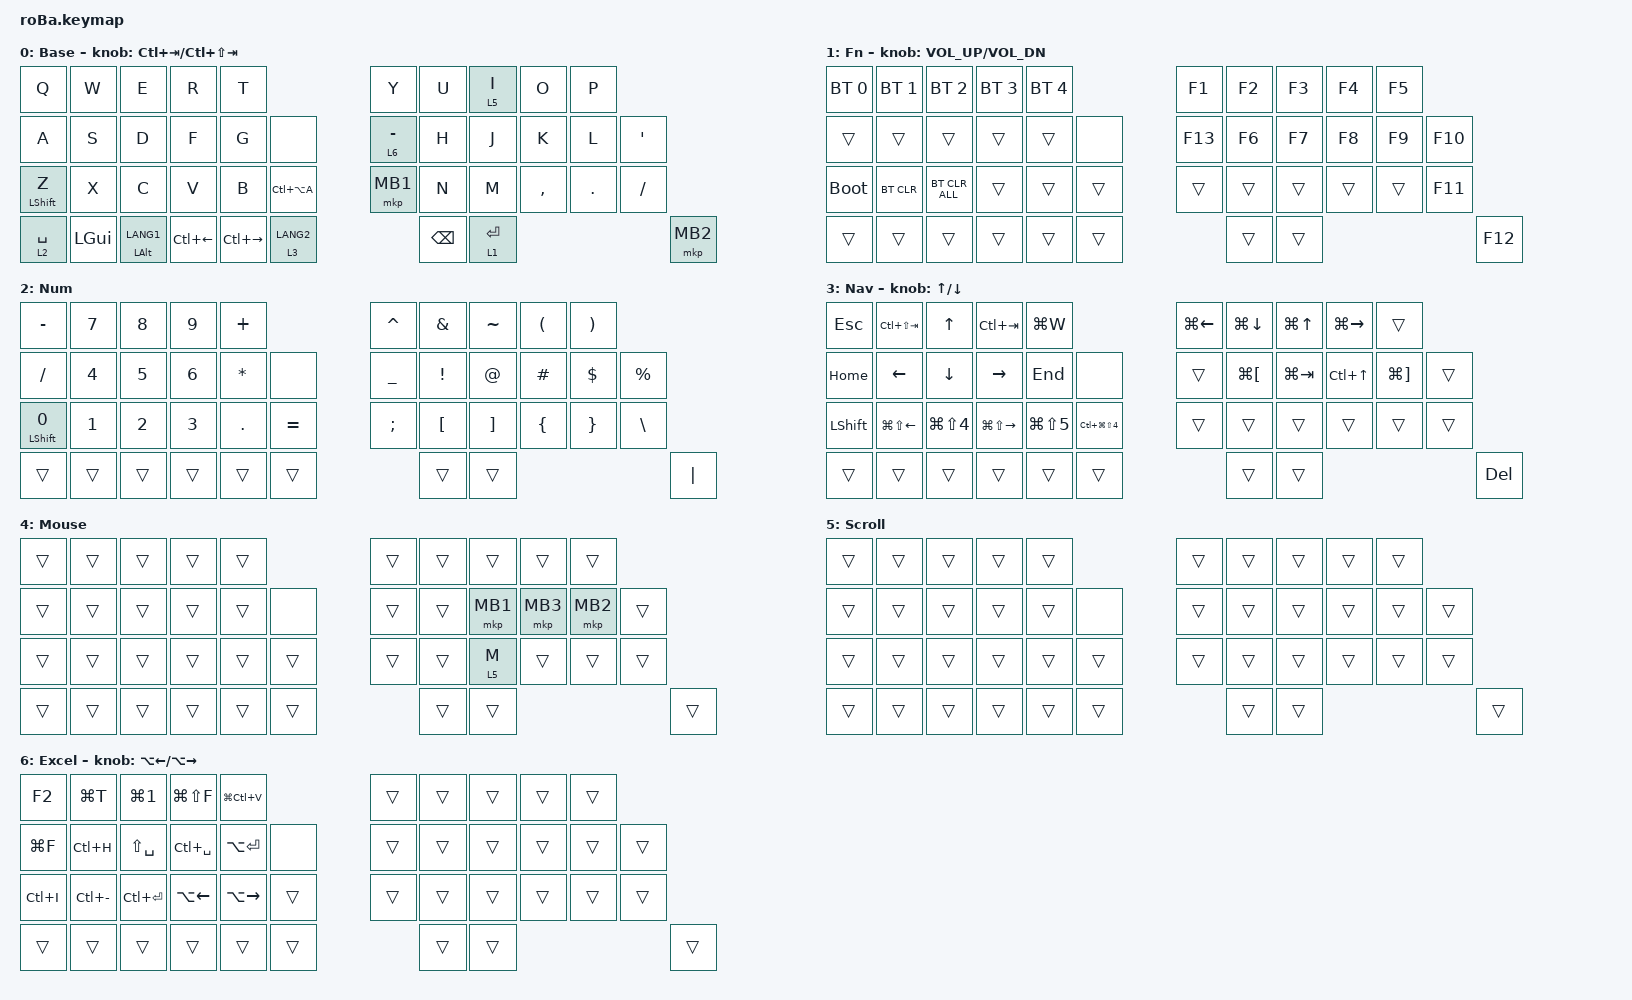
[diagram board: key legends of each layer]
#include <behaviors.dtsi>
#include <dt-bindings/zmk/bt.h>
#include <dt-bindings/zmk/keys.h>
#include <dt-bindings/zmk/pointing.h>

/*
 * roBa キーマップ — Mac 専用版（音声入力＋トラックボール中心）
 *
 * ┌ ワンタップでできること ─────────────────────────────┐
 * │ Aqua Voice     … 左内側の下のキー（⌃⌥A）               │
 * │ タブ切替       … ダイヤルを回す（⌃Tab / ⌃⇧Tab）        │
 * │ 画面(スペース) … 親指 ⌃← / ⌃→                         │
 * │ ウィンドウ一覧 … 親指 ⌃← と ⌃→ を同時押し（⌃↑）        │
 * │ スクショ       … 親指 ⌃→ と 英数 を同時押し              │
 * │                  （範囲を選ぶ→クリップボードへ。⌘Vで貼付）│
 * └──────────────────────────────────────────────┘
 *
 * ┌ レイヤー一覧（すべて「押しっぱなし」の間だけ有効）──────┐
 * │ 0 BASE      … 通常                                      │
 * │ 1 FUNCTION  … F1-F12＋Bluetooth（Enter長押し）          │
 * │ 2 NUM       … 数字・記号（Space長押し）                  │
 * │ 3 ARROW     … 操作：矢印・タブ/アプリ切替・スクショ（英数長押し）│
 * │ 4 MOUSE     … ボール操作で自動                           │
 * │ 5 SCROLL    … スクロール（I または M 長押し＋ボール）      │
 * │ 6 EXCEL     … Excelショートカット（「ー」長押し）          │
 * └──────────────────────────────────────────────┘
 *
 * 親指（左）: [Space] [⌘] [⌥/かな] [⌃←] [⌃→] [英数]
 *   Space長押し=数字 / 英数長押し=操作 / ⌥キーはタップ=かな・長押し=⌥
 * 親指（右）: [⌫] [Enter] [右クリック]   Enter長押し=Fn
 *
 * コピー/ペースト: 親指の ⌘ ＋ C / V
 * クリック: トラックボール脇のキー=左クリック（常時）、最右下=右クリック（常時）
 *           ボール操作中は J/K/L も 左/中/右クリック
 *
 * ※ 位置15（左内側の上）はダイヤルの場所で物理キーが無いため全レイヤーで &none
 */

&mt {
    flavor = "balanced";
    quick-tap-ms = <0>;
};

/* レイヤーキーは押しながら次のキーを押せば即レイヤーに入る */
&lt {
    flavor = "balanced";
    quick-tap-ms = <175>;
};

&trackball {
    automouse-layer = <4>;
    scroll-layers = <5>;
};

/ {
    combos {
        compatible = "zmk,combos";

        tab {
            bindings = <&kp TAB>;
            key-positions = <11 12>;
        };

        shift_tab {
            bindings = <&kp LS(TAB)>;
            key-positions = <12 13>;
        };

        eisu {
            bindings = <&kp LANG2>;
            key-positions = <11 10>;
        };

        kana {
            bindings = <&kp LANG1>;
            key-positions = <0 1>;
        };

        double_quotation {
            bindings = <&kp DOUBLE_QUOTES>;
            key-positions = <20 21>;
        };

        eq {
            bindings = <&kp EQUAL>;
            key-positions = <24 25>;
        };

        /* 親指 ⌃← ＋ ⌃→ 同時押し = Mission Control（全ウィンドウ一覧→ボールで選んでクリック） */
        mission_control {
            bindings = <&kp LC(UP_ARROW)>;
            key-positions = <37 38>;
        };

        /* 親指 ⌃→ ＋ 英数 同時押し = スクショ（範囲選択→クリップボード。⌘Vで貼り付け） */
        screenshot {
            bindings = <&kp LC(LG(LS(NUMBER_4)))>;
            key-positions = <38 39>;
        };
    };

    macros {
        to_layer_0: to_layer_0 {
            compatible = "zmk,behavior-macro-one-param";
            #binding-cells = <1>;
            bindings = <&to 0 &macro_param_1to1 &kp MACRO_PLACEHOLDER>;
            label = "TO_LAYER_0";
        };
    };

    behaviors {
        lt_to_layer_0: lt_to_layer_0 {
            compatible = "zmk,behavior-hold-tap";
            label = "LAYER_TAP_TO_0";
            bindings = <&mo>, <&to_layer_0>;

            #binding-cells = <2>;
            tapping-term-ms = <200>;
            flavor = "balanced";
            quick-tap-ms = <175>;
        };
    };

    keymap {
        compatible = "zmk,keymap";

        BASE {
            display-name = "Base";
            bindings = <
&kp Q             &kp W         &kp E         &kp R                                    &kp T                                            &kp Y          &kp U        &lt 5 I    &kp O    &kp P
&kp A             &kp S         &kp D         &kp F                                    &kp G        &none                               &lt 6 MINUS    &kp H          &kp J        &kp K      &kp L    &kp SQT
&mt LEFT_SHIFT Z  &kp X         &kp C         &kp V                                    &kp B        &kp LC(LA(A))                       &mkp MB1       &kp N          &kp M        &kp COMMA  &kp DOT  &kp SLASH
&lt 2 SPACE       &kp LEFT_GUI  &mt LEFT_ALT LANG1  &kp LC(LEFT_ARROW)                 &kp LC(RIGHT_ARROW)  &lt_to_layer_0 3 LANG2              &kp BACKSPACE  &lt 1 ENTER                                      &mkp MB2
            >;

            /* ダイヤル = タブ切替（次のタブ / 前のタブ）。ボール操作中(MOUSE)も同じ動作 */
            sensor-bindings = <&inc_dec_kp LC(TAB) LC(LS(TAB))>;
        };

        FUNCTION {
            display-name = "Fn";
            bindings = <
&bt BT_SEL 0  &bt BT_SEL 1  &bt BT_SEL 2   &bt BT_SEL 3  &bt BT_SEL 4                        &kp F1   &kp F2  &kp F3  &kp F4  &kp F5
&trans        &trans        &trans         &trans        &trans  &none           &kp F13      &kp F6   &kp F7  &kp F8  &kp F9  &kp F10
&bootloader   &bt BT_CLR    &bt BT_CLR_ALL &trans        &trans  &trans          &trans       &trans   &trans  &trans  &trans  &kp F11
&trans        &trans        &trans         &trans        &trans  &trans          &trans       &trans                           &kp F12
            >;

            sensor-bindings = <&inc_dec_kp C_VOL_UP C_VOL_DN>;
        };

        NUM {
            display-name = "Num";
            bindings = <
&kp MINUS               &kp NUMBER_7  &kp NUMBER_8  &kp NUMBER_9  &kp PLUS                                    &kp CARET         &kp AMPERSAND      &kp TILDE       &kp LEFT_PARENTHESIS  &kp RIGHT_PARENTHESIS
&kp SLASH               &kp NUMBER_4  &kp NUMBER_5  &kp NUMBER_6  &kp ASTERISK  &none           &kp UNDERSCORE  &kp EXCLAMATION   &kp AT_SIGN        &kp HASH        &kp DOLLAR            &kp PERCENT
&mt LEFT_SHIFT NUMBER_0 &kp NUMBER_1  &kp NUMBER_2  &kp NUMBER_3  &kp PERIOD    &kp EQUAL       &kp SEMICOLON   &kp LEFT_BRACKET  &kp RIGHT_BRACKET  &kp LEFT_BRACE  &kp RIGHT_BRACE       &kp BACKSLASH
&trans                  &trans        &trans        &trans        &trans        &trans          &trans          &trans                                                                     &kp PIPE
            >;
        };

        /*
         * ARROW（操作）— 英数を押しっぱなしの間だけ
         *  左手: 矢印・行頭/行末・選択 / W,R=前後のタブ  T=タブを閉じる  Q=Esc
         *        C=スクショ(ファイル保存)  内側=スクショ(クリップボード)  B=スクショ/録画メニュー
         *  右手: YUIO=⌘+矢印（行頭・文末/Excelのセル端へジャンプ）
         *        H=戻る  J=前のアプリ(⌘Tab)  K=ウィンドウ一覧  L=進む  最右下=Delete
         *  ダイヤル: ↑ / ↓
         */
        ARROW {
            display-name = "Nav";
            bindings = <
&kp ESCAPE      &kp LC(LS(TAB))         &kp UP_ARROW          &kp LC(TAB)              &kp LG(W)                                       &kp LG(LEFT_ARROW)  &kp LG(DOWN_ARROW)    &kp LG(UP_ARROW)  &kp LG(RIGHT_ARROW)    &trans
&kp HOME        &kp LEFT_ARROW          &kp DOWN_ARROW        &kp RIGHT_ARROW          &kp END             &none                       &trans              &kp LG(LEFT_BRACKET)  &kp LG(TAB)       &kp LC(UP_ARROW)  &kp LG(RIGHT_BRACKET)  &trans
&kp LEFT_SHIFT  &kp LG(LS(LEFT_ARROW))  &kp LG(LS(NUMBER_4))  &kp LG(LS(RIGHT_ARROW))  &kp LG(LS(NUMBER_5))  &kp LC(LG(LS(NUMBER_4)))  &trans              &trans                &trans            &trans  &trans                 &trans
&trans          &trans                  &trans                &trans                   &trans              &trans                      &trans              &trans                                                           &kp DEL
            >;

            sensor-bindings = <&inc_dec_kp UP_ARROW DOWN_ARROW>;
        };

        MOUSE {
            display-name = "Mouse";
            bindings = <
&trans  &trans  &trans  &trans  &trans                      &trans  &trans    &trans    &trans    &trans
&trans  &trans  &trans  &trans  &trans  &none       &trans  &trans  &mkp MB1  &mkp MB3  &mkp MB2  &trans
&trans  &trans  &trans  &trans  &trans  &trans      &trans  &trans  &lt 5 M   &trans    &trans    &trans
&trans  &trans  &trans  &trans  &trans  &trans      &trans  &trans                                &trans
            >;
        };

        SCROLL {
            display-name = "Scroll";
            bindings = <
&trans  &trans  &trans  &trans  &trans                      &trans  &trans  &trans  &trans  &trans
&trans  &trans  &trans  &trans  &trans  &none       &trans  &trans  &trans  &trans  &trans  &trans
&trans  &trans  &trans  &trans  &trans  &trans      &trans  &trans  &trans  &trans  &trans  &trans
&trans  &trans  &trans  &trans  &trans  &trans      &trans  &trans                          &trans
            >;
        };

        /*
         * EXCEL（Mac版 Excel のショートカット）— 右手で「ー」を押さえたまま左手で叩く
         *  Q=F2 セル編集   W=⌘T 絶対参照   E=⌘1 書式   R=⌘⇧F フィルタ   T=⌘⌃V 形式貼付
         *  A=⌘F 検索       S=⌃H 置換       D=⇧Space 行選択  F=⌃Space 列選択  G=⌥Enter セル内改行
         *  Z=⌃I 行列追加   X=⌃- 行列削除   C=⌃Enter 一括入力  V=⌥← 前シート  B=⌥→ 次シート
         */
        EXCEL {
            display-name = "Excel";
            bindings = <
&kp F2        &kp LG(T)      &kp LG(NUMBER_1)  &kp LG(LS(F))        &kp LG(LC(V))                              &trans  &trans  &trans  &trans  &trans
&kp LG(F)     &kp LC(H)      &kp LS(SPACE)     &kp LC(SPACE)        &kp LA(ENTER)        &none          &trans  &trans  &trans  &trans  &trans  &trans
&kp LC(I)     &kp LC(MINUS)  &kp LC(ENTER)     &kp LA(LEFT_ARROW)   &kp LA(RIGHT_ARROW)  &trans         &trans  &trans  &trans  &trans  &trans  &trans
&trans        &trans         &trans            &trans               &trans               &trans         &trans  &trans                          &trans
            >;

            sensor-bindings = <&inc_dec_kp LA(LEFT_ARROW) LA(RIGHT_ARROW)>;
        };
    };
};
